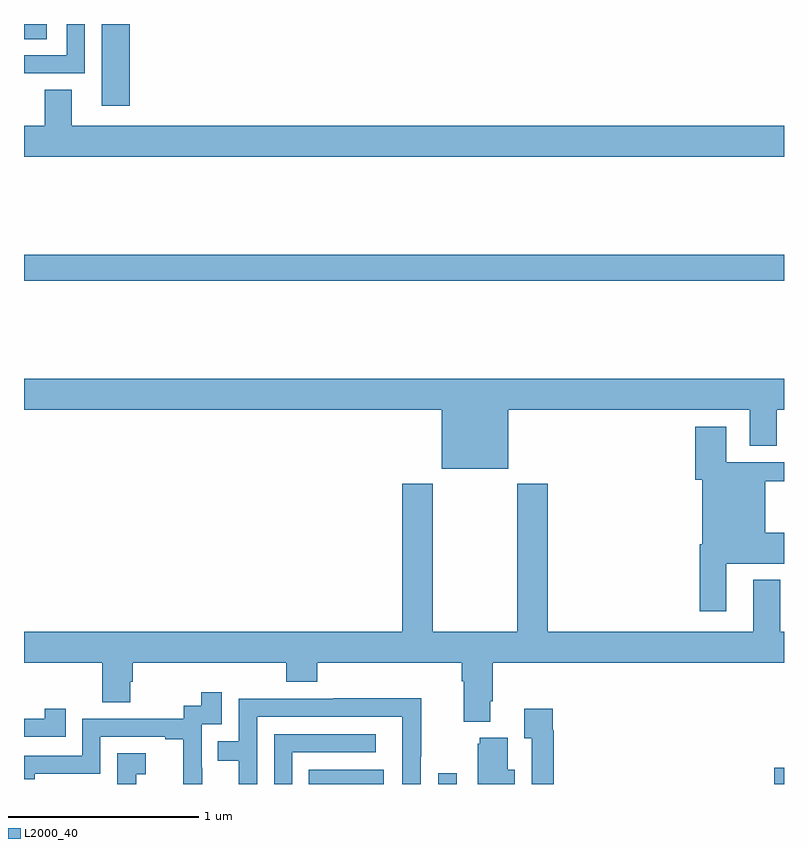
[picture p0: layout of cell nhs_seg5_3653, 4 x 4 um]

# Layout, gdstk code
import gdstk
lib = gdstk.Library(unit=1e-6, precision=1e-09)
def R(c, l, rs):  # rectangles x0, y0, x1, y1
    for r in rs: c.add(gdstk.rectangle(r[:2], r[2:], *l))
def P(c, l, *ps):  # polygons
    for p in ps: c.add(gdstk.Polygon(p, *l))
L2000_40 = (2000, 40)

nhs_seg5_3653 = lib.new_cell('nhs_seg5_3653')
R(nhs_seg5_3653, L2000_40, [(328.498,846.799,328.894,846.874), (329.181,846.799,329.277,846.856), (330.948,846.799,331,846.884), (327,849.448,331,849.584), (327.41,850.368,327.557,850.799), (327,850.72,327.121,850.799)])
P(nhs_seg5_3653, L2000_40, [(327.321,850.799),(327.225,850.799),(327.225,850.635),(327,850.635),(327,850.539),(327.321,850.539)],
  [(331,850.264),(327.25,850.264),(327.25,850.454),(327.11,850.454),(327.11,850.264),(327,850.264),(327,850.1),(331,850.1)],
  [(329.548,848.768),(330.821,848.768),(330.821,848.578),(330.961,848.578),(330.961,848.768),(331,848.768),(331,848.932),(327,848.932),(327,848.768),(329.198,848.768),(329.198,848.459),(329.548,848.459)],
  [(330.697,847.958),(331,847.958),(331,848.122),(330.901,848.122),(330.901,848.392),(331,848.392),(331,848.493),(330.697,848.493),(330.697,848.68),(330.533,848.68),(330.533,848.4),(330.569,848.4),(330.569,848.062),(330.557,848.062),(330.557,847.707),(330.697,847.707)],
  [(329.455,847.234),(329.468,847.234),(329.468,847.436),(331,847.436),(331,847.6),(330.979,847.6),(330.979,847.873),(330.839,847.873),(330.839,847.6),(329.756,847.6),(329.756,848.38),(329.596,848.38),(329.596,847.6),(329.151,847.6),(329.151,848.38),(328.991,848.38),(328.991,847.6),(327,847.6),(327,847.436),(327.412,847.436),(327.412,847.228),(327.559,847.228),(327.559,847.338),(327.572,847.338),(327.572,847.436),(328.379,847.436),(328.379,847.337),(328.544,847.337),(328.544,847.436),(329.303,847.436),(329.303,847.34),(329.315,847.34),(329.315,847.127),(329.455,847.127)],
  [(327.938,846.884),(327.936,846.884),(327.936,847.113),(328.041,847.113),(328.041,847.282),(327.933,847.282),(327.933,847.212),(327.84,847.212),(327.84,847.143),(327.306,847.143),(327.306,846.948),(327,846.948),(327,846.825),(327.057,846.825),(327.057,846.852),(327.402,846.852),(327.402,847.047),(327.743,847.047),(327.743,847.035),(327.839,847.035),(327.839,846.799),(327.938,846.799)],
  [(328.227,847.152),(328.991,847.152),(328.991,846.898),(328.992,846.898),(328.992,846.799),(329.088,846.799),(329.088,846.943),(329.091,846.943),(329.091,847.25),(328.627,847.25),(328.627,847.248),(328.131,847.248),(328.131,847.023),(328.021,847.023),(328.021,846.922),(328.131,846.922),(328.131,846.799),(328.227,846.799)],
  [(327.221,847.195),(327.11,847.195),(327.11,847.143),(327,847.143),(327,847.047),(327.221,847.047)],
  [(329.789,847.082),(329.782,847.082),(329.782,847.195),(329.633,847.195),(329.633,847.039),(329.673,847.039),(329.673,846.799),(329.789,846.799)],
  [(328.413,846.966),(328.852,846.966),(328.852,847.062),(328.317,847.062),(328.317,846.799),(328.413,846.799)],
  [(329.584,846.874),(329.545,846.874),(329.545,847.042),(329.399,847.042),(329.399,847.011),(329.387,847.011),(329.387,846.799),(329.584,846.799)],
  [(327.591,846.851),(327.64,846.851),(327.64,846.961),(327.492,846.961),(327.492,846.799),(327.591,846.799)])

lib.write_gds('nhs_seg5_3653.gds')
